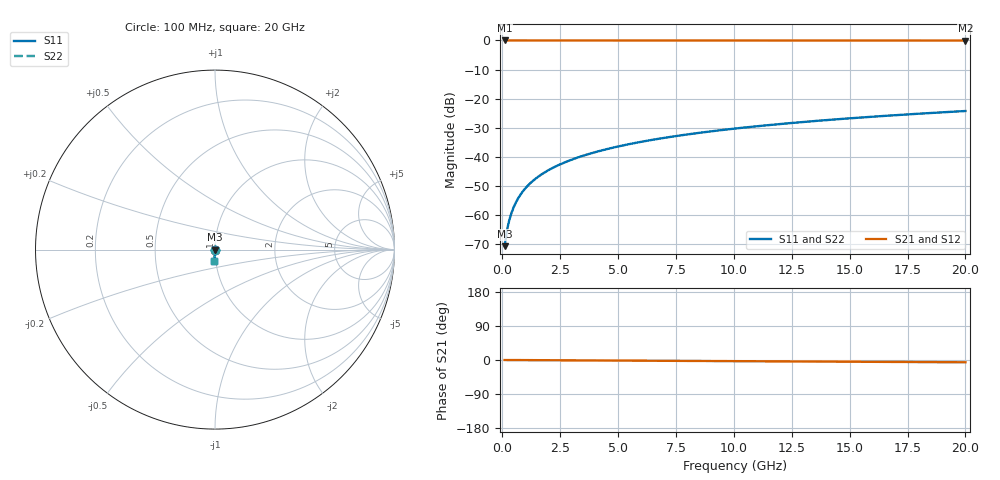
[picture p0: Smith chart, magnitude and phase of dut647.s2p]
! Touchstone file exported from HFSS 2026.1.0
!  File:  C:/ffzhzh/LocalFiles/Ansys_Project_Files/temp_train_TSV_647_1783026578_55676.aedt
!  Generated:  05:11:06 AM Jul  3, 2026
!  Design:  TSV
!  Project:  temp_train_TSV_647_1783026578_55676
! Variables:
!  h_bsmrdl = 2um
!  h_ox = 20um
!  h_rdl = 5um
!  h_sub = 51.44um
!  h_tmrdl = 5um
!  h_tsv = 51.44um
!  h_via = 3um
!  l_bsmrdl = 300um
!  l_sub = 416.5um
!  l_tmrdl = 200um
!  m_sub = 200um
!  pitch = 20.47um
!  r_tsv = 8.25um
!  s_tmrdl = 10um
!  w_bsmrdl = 18um
!  w_sub = 500um
!  w_tmrdl = 12um
!  x_tsv_center1 = 206um
!  x_tsv_center2 = 524um
!  x_tsv_center3 = 736um
!  x_tsv_center4 = 1054um
!  x_tsv_center5 = 1266um
!  x_tsv_center6 = 1584um
# GHz S MA R 50.000000
! Terminal data exported
! Port[1] = TSV1_1_T1
! Port[2] = TSV1_1_T2
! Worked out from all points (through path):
!   200 points, 100 MHz to 20 GHz, reference 50 ohm
!   highest |S21| = 0.00 dB at 100 MHz (marker M1); lowest = 0.0 dB at 20 GHz (marker M2)
!   lowest |S11| = -70.8 dB at 100 MHz (marker M3), VSWR 1.00, Z = 50 - j0.0254 ohm
!   |S11| at or under -10 dB: start of sweep to end of sweep
!   |S22| runs from -70.8 to -24.3 dB; largest |S21 - S12| = 2e-15
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0.1  0.0002886 -61.8  0.9999 -0.0  0.9999 -0.0  0.0002886 -61.8
! Gamma 0 0 0 0
! Port Impedance 50 0 50 0
0.2  0.000538 -73.2  0.9998 -0.1  0.9998 -0.1  0.000538 -73.2
0.3  0.0008063 -77.0  0.9998 -0.1  0.9998 -0.1  0.0008063 -77.0
0.4  0.001087 -78.9  0.9998 -0.1  0.9998 -0.1  0.001087 -78.9
0.5  0.001375 -80.1  0.9998 -0.2  0.9998 -0.2  0.001375 -80.1
0.7  0.001967 -81.9  0.9997 -0.2  0.9997 -0.2  0.001967 -81.9
0.8  0.002267 -82.5  0.9997 -0.3  0.9997 -0.3  0.002267 -82.5
1  0.002868 -83.6  0.9997 -0.3  0.9997 -0.3  0.002868 -83.6
1.2  0.003471 -84.5  0.9996 -0.4  0.9996 -0.4  0.003471 -84.5
1.4  0.004074 -85.1  0.9996 -0.4  0.9996 -0.4  0.004074 -85.1
1.7  0.004977 -85.9  0.9996 -0.5  0.9996 -0.5  0.004977 -85.9
2  0.00588 -86.4  0.9996 -0.6  0.9996 -0.6  0.00588 -86.4
2.7  0.007991 -87.4  0.9995 -0.8  0.9995 -0.8  0.007991 -87.4
3.5  0.01041 -88.0  0.9994 -1.1  0.9994 -1.1  0.01041 -88.0
4.2  0.01254 -88.5  0.9993 -1.3  0.9993 -1.3  0.01254 -88.5
5  0.01498 -89.0  0.9992 -1.5  0.9992 -1.5  0.01498 -89.0
6.8  0.02049 -89.8  0.999 -2.1  0.999 -2.1  0.02049 -89.8
8.3  0.0251 -90.5  0.9988 -2.5  0.9988 -2.5  0.0251 -90.5
10.1  0.03064 -91.2  0.9986 -3.1  0.9986 -3.1  0.03064 -91.2
13.4  0.04079 -92.5  0.9981 -4.0  0.9981 -4.0  0.04079 -92.5
16.7  0.05094 -93.6  0.9974 -5.0  0.9974 -5.0  0.05094 -93.6
20  0.06109 -94.7  0.9967 -6.0  0.9967 -6.0  0.06109 -94.7
